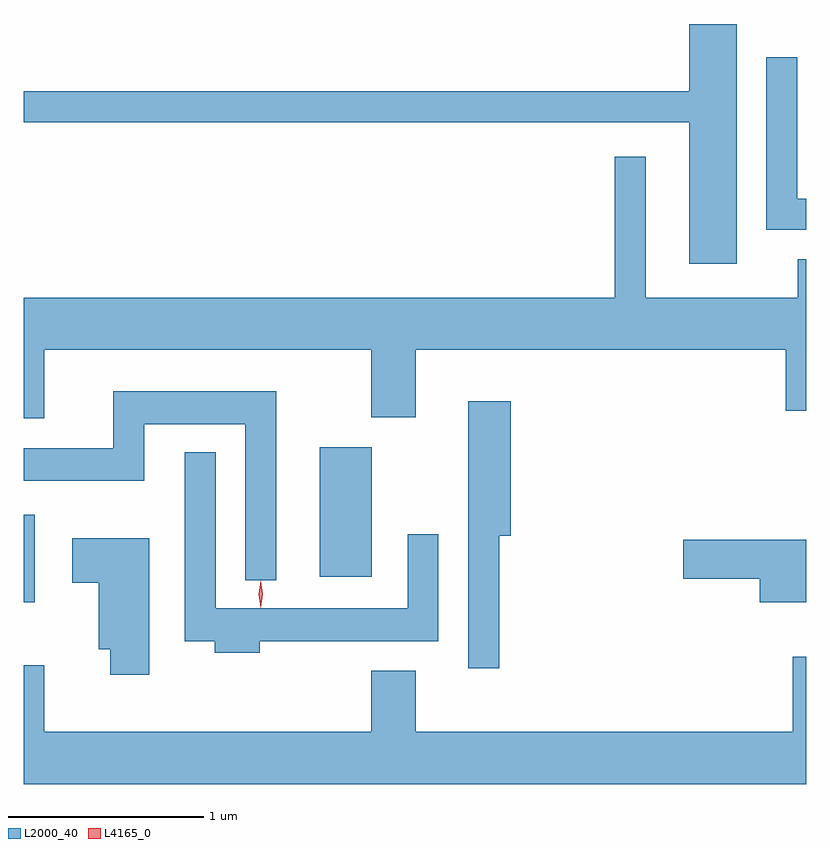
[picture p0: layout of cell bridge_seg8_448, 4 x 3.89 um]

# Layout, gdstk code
import gdstk
lib = gdstk.Library(unit=1e-6, precision=1e-09)
def R(c, l, rs):  # rectangles x0, y0, x1, y1
    for r in rs: c.add(gdstk.rectangle(r[:2], r[2:], *l))
def P(c, l, *ps):  # polygons
    for p in ps: c.add(gdstk.Polygon(p, *l))
L2000_40 = (2000, 40)
L4165_0 = (4165, 0)

bridge_seg8_448 = lib.new_cell('bridge_seg8_448')
R(bridge_seg8_448, L2000_40, [(586.704,1912.826,586.759,1913.274), (588.216,1912.956,588.484,1913.619)])
P(bridge_seg8_448, L2000_40, [(590.349,1915.783),(590.106,1915.783),(590.106,1915.439),(586.704,1915.439),(586.704,1915.281),(590.106,1915.281),(590.106,1914.556),(590.349,1914.556)],
  [(590.704,1914.889),(590.659,1914.889),(590.659,1915.613),(590.501,1915.613),(590.501,1914.731),(590.704,1914.731)],
  [(586.809,1914.116),(588.481,1914.116),(588.481,1913.771),(588.709,1913.771),(588.709,1914.116),(590.601,1914.116),(590.601,1913.806),(590.704,1913.806),(590.704,1914.579),(590.661,1914.579),(590.661,1914.384),(589.884,1914.384),(589.884,1915.103),(589.726,1915.103),(589.726,1914.384),(586.704,1914.384),(586.704,1913.766),(586.809,1913.766)],
  [(587.994,1913.904),(587.161,1913.904),(587.161,1913.614),(586.704,1913.614),(586.704,1913.446),(587.319,1913.446),(587.319,1913.736),(587.836,1913.736),(587.836,1912.938),(587.994,1912.938)],
  [(589.134,1913.166),(589.194,1913.166),(589.194,1913.854),(588.976,1913.854),(588.976,1912.488),(589.134,1912.488)],
  [(587.909,1912.626),(588.824,1912.626),(588.824,1913.173),(588.666,1913.173),(588.666,1912.794),(587.684,1912.794),(587.684,1913.593),(587.526,1913.593),(587.526,1912.626),(587.681,1912.626),(587.681,1912.566),(587.909,1912.566)],
  [(587.344,1913.154),(586.951,1913.154),(586.951,1912.926),(587.086,1912.926),(587.086,1912.586),(587.146,1912.586),(587.146,1912.456),(587.344,1912.456)],
  [(590.704,1913.144),(590.076,1913.144),(590.076,1912.946),(590.466,1912.946),(590.466,1912.826),(590.704,1912.826)],
  [(590.704,1912.548),(590.636,1912.548),(590.636,1912.164),(588.709,1912.164),(588.709,1912.474),(588.481,1912.474),(588.481,1912.164),(586.809,1912.164),(586.809,1912.504),(586.704,1912.504),(586.704,1911.896),(590.704,1911.896)])
P(bridge_seg8_448, L4165_0, [(587.916,1912.797),(587.915,1912.798),(587.906,1912.867),(587.915,1912.936),(587.916,1912.936),(587.916,1912.936),(587.926,1912.867),(587.916,1912.798)],
  [(587.916,1912.799),(587.915,1912.8),(587.905,1912.866),(587.915,1912.932),(587.916,1912.933),(587.916,1912.932),(587.926,1912.866),(587.916,1912.8)])

lib.write_gds('bridge_seg8_448.gds')
